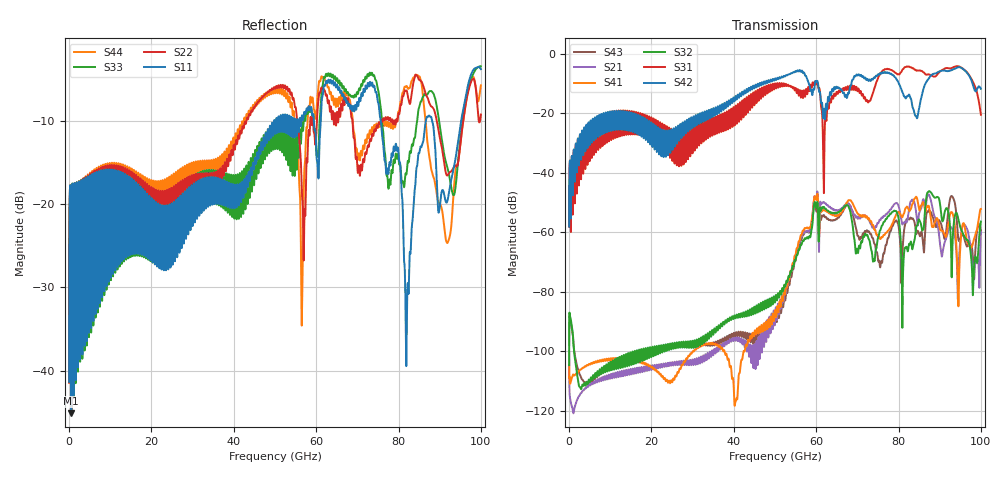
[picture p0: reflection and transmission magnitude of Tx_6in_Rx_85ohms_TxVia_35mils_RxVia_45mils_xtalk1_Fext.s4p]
! Info: Touchstone file created by Circ.  Input file=Tx_6in_Rx_85ohms_TxVia_35mils_RxVia_45mils.circ
# Hz S RI R 50
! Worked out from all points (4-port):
!   10000 points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, 10 MHz to 100 GHz, reference 50 ohm
!   strongest paths, dB at 10 MHz, 25.01 GHz, 50.01 GHz, 75.01 GHz, 100 GHz:
!     S42: -58.1, -28.3, -8.2, -6.8, -11.7
!     S31: -58.1, -32.6, -9.9, -8.0, -20.4
!     S32: -104.8, -97.6, -83.5, -62.0, -56.4
!     S41: -100.1, -110.5, -86.3, -61.7, -52.1
!     S21: -100.9, -103.8, -90.2, -56.9, -60.0
!     S43: -97.9, -97.8, -89.9, -69.4, -59.5
!   lowest |S11| = -45.1 dB at 530 MHz (marker M1), VSWR 1.01, Z = 49.5 + j0.304 ohm
!   |S11| at or under -10 dB: start of sweep to 49.81 GHz; 75.68 GHz to 86.65 GHz (10.97 GHz wide, 13.5 % of centre); 88.14 GHz to 95.21 GHz (7.068 GHz wide, 7.71 % of centre) (the widest 3 of 17)
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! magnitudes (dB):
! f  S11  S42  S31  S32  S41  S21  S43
! 10 MHz  -41.4  -58.1  -58.1  -104.8  -100.1  -100.9  -97.9
! 530 MHz  -45.1  -39.4  -39.5  -90.3  -109.5  -118.0  -91.1
! 59.9 GHz  -11.8  -9.1  -10.0  -51.0  -48.9  -48.7  -51.4
! 73.35 GHz  -5.8  -8.7  -14.8  -65.7  -56.3  -57.2  -60.7
! 82.06 GHz  -32.8  -14.2  -4.2  -65.3  -51.3  -56.4  -55.7
! 94.53 GHz  -12.3  -4.4  -4.1  -55.7  -84.7  -75.2  -62.4
! 100 GHz  -3.8  -11.7  -20.4  -56.4  -52.1  -60.0  -59.5
